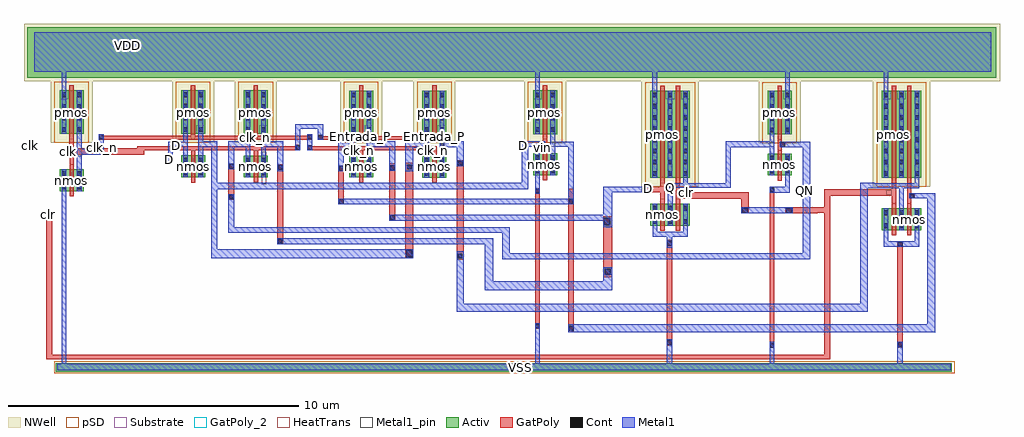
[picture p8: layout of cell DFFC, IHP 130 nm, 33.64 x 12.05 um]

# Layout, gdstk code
from math import pi, radians
import gdstk
lib = gdstk.Library(unit=1e-6, precision=1e-09)
def R(c, l, rs):  # rectangles x0, y0, x1, y1
    for r in rs: c.add(gdstk.rectangle(r[:2], r[2:], *l))
def A(c, l, x, y, w, h, nx, ny, dx, dy):  # array of equal rectangles
    R(c, l, [(x+i*dx, y+j*dy, x+i*dx+w, y+j*dy+h) for i in range(nx) for j in range(ny)])
def P(c, l, *ps):  # polygons
    for p in ps: c.add(gdstk.Polygon(p, *l))
Activ = (1, 0)
GatPoly = (5, 0)
GatPoly_2 = (5, 2)
Cont = (6, 0)
Metal1 = (8, 0)
Metal1_pin = (8, 2)
pSD = (14, 0)
NWell = (31, 0)
Substrate = (40, 0)
HeatTrans = (51, 0)

pmos_1_1 = lib.new_cell('pmos$1$1')

nmos_1_1 = lib.new_cell('nmos$1$1')

nmos_1_3 = lib.new_cell('nmos$1$3')

pmos_1_3 = lib.new_cell('pmos$1$3')

nmos_1_3_1 = lib.new_cell('nmos$1$3$1')

pmos_1_3_1 = lib.new_cell('pmos$1$3$1')

nmos_1_3_1_1 = lib.new_cell('nmos$1$3$1$1')

pmos_1_3_1_1 = lib.new_cell('pmos$1$3$1$1')

nmos_3_1_1 = lib.new_cell('nmos$3$1$1')

pmos_3_1_1 = lib.new_cell('pmos$3$1$1')

nmos_3_1_1_1 = lib.new_cell('nmos$3$1$1$1')

pmos_3_1_1_1 = lib.new_cell('pmos$3$1$1$1')

pmos_3 = lib.new_cell('pmos$3')

nmos_3 = lib.new_cell('nmos$3')

pmos_3_1 = lib.new_cell('pmos$3$1')

nmos_3_1 = lib.new_cell('nmos$3$1')

nmos_1_1_1 = lib.new_cell('nmos$1$1$1')

pmos_1_1_1 = lib.new_cell('pmos$1$1$1')

nmos_1_1_3 = lib.new_cell('nmos$1$1$3')

pmos_1_1_3 = lib.new_cell('pmos$1$1$3')

pmos_1_1_4 = lib.new_cell('pmos$1$1$4')

nmos_1_1_4 = lib.new_cell('nmos$1$1$4')

pmos_1_3_2 = lib.new_cell('pmos$1$3$2')

nmos_1_3_1_2 = lib.new_cell('nmos$1$3$1$2')

pmos_1_3_1_2 = lib.new_cell('pmos$1$3$1$2')

nmos_1_3_1_1_1 = lib.new_cell('nmos$1$3$1$1$1')

pmos_1_3_1_1_1 = lib.new_cell('pmos$1$3$1$1$1')

pmos_3_2 = lib.new_cell('pmos$3$2')

nmos_3_2 = lib.new_cell('nmos$3$2')

pmos_3_1_2 = lib.new_cell('pmos$3$1$2')

nmos_3_1_2 = lib.new_cell('nmos$3$1$2')

nmos_1_1_1_1 = lib.new_cell('nmos$1$1$1$1')

pmos_1_1_1_1 = lib.new_cell('pmos$1$1$1$1')

nmos_1_1_3_1 = lib.new_cell('nmos$1$1$3$1')

pmos_1_1_3_1 = lib.new_cell('pmos$1$1$3$1')

nmos_3_1_1_1_1 = lib.new_cell('nmos$3$1$1$1$1')

pmos_3_1_1_1_1 = lib.new_cell('pmos$3$1$1$1$1')

nmos_1_3_2 = lib.new_cell('nmos$1$3$2')

nmos_3_1_1_2 = lib.new_cell('nmos$3$1$1$2')

pmos_3_1_1_2 = lib.new_cell('pmos$3$1$1$2')

dffc = lib.new_cell('DFFC')
R(dffc, Activ, [(64.975,63.48,95.87,63.765), (93.45,68.36,94.28,69.11), (93.98,68.36,94.81,69.11), (85.477,68.512,86.307,69.262), (86.007,68.512,86.837,69.262), (93.45,68.81,93.75,69.11), (93.98,68.81,94.28,69.11), (93.98,68.81,94.28,69.11), (94.51,68.81,94.81,69.11), (85.477,68.962,85.777,69.262), (86.007,68.962,86.307,69.262), (86.007,68.962,86.307,69.262), (86.537,68.962,86.837,69.262), (65.105,69.705,65.935,70.455), (65.105,70.155,65.405,70.455), (65.635,70.155,65.935,70.455), (85.475,70.162,86.305,73.162), (86.005,70.162,86.835,73.162), (93.451,70.162,94.281,73.162), (93.981,70.162,94.811,73.162), (77.615,70.17,77.915,70.47), (77.615,70.17,78.445,70.92), (78.145,70.17,78.445,70.47), (75.09,70.175,75.39,70.475), (75.09,70.175,75.92,70.925), (75.62,70.175,75.92,70.475), (71.457,70.176,71.757,70.476), (71.457,70.176,72.287,70.926), (71.987,70.176,72.287,70.476), (69.295,70.19,70.125,70.94), (69.825,70.19,70.125,70.49), (69.295,70.193,69.585,70.483), (89.516,70.242,90.346,70.992), (81.429,70.252,82.259,71.002), (89.516,70.692,89.816,70.992), (90.046,70.692,90.346,70.992), (81.429,70.702,81.729,71.002), (81.959,70.702,82.259,71.002), (89.516,71.662,90.346,73.162), (75.09,71.67,75.39,71.97), (75.09,71.67,75.92,73.17), (75.62,71.67,75.92,71.97), (77.615,71.67,77.915,71.97), (77.615,71.67,78.445,73.17), (78.145,71.67,78.445,71.97), (81.429,71.672,82.259,73.172), (65.105,71.675,65.935,73.175), (71.455,71.675,71.755,71.975), (71.455,71.675,72.285,73.175), (71.985,71.675,72.285,71.975), (69.295,71.677,69.595,71.977), (69.295,71.677,70.125,73.177), (69.825,71.677,70.125,71.977), (85.475,72.862,85.775,73.162), (86.005,72.862,86.305,73.162), (86.005,72.862,86.305,73.162), (86.535,72.862,86.835,73.162), (89.516,72.862,89.816,73.162), (90.046,72.862,90.346,73.162), (93.451,72.862,93.751,73.162), (93.981,72.862,94.281,73.162), (93.981,72.862,94.281,73.162), (94.511,72.862,94.811,73.162), (81.429,72.872,81.729,73.172), (81.959,72.872,82.259,73.172), (65.105,72.875,65.405,73.175), (65.635,72.875,65.935,73.175), (63.988,73.614,97.395,75.36)])
R(dffc, GatPoly, [(89.585,64.3,89.746,69.845), (93.99,64.305,94.18,67.973), (86.03,64.371,86.235,68.03), (82.65,64.845,82.83,69.785), (81.499,64.955,81.66,69.805), (83.84,66.735,84.155,68.845), (78.795,67.34,79.04,70.765), (77.03,67.385,77.3,70.68), (72.61,67.88,72.81,70.63), (93.79,68.18,93.94,69.29), (94.32,68.18,94.47,69.29), (85.817,68.332,85.967,69.442), (76.48,68.69,76.675,70.67), (74.72,69.255,74.905,70.58), (70.915,69.4,71.13,70.65), (85.815,69.982,85.965,73.342), (85.815,69.982,85.965,73.342), (86.345,69.982,86.495,73.342), (86.345,69.982,86.495,73.342), (93.791,69.982,93.941,73.342), (93.791,69.982,93.941,73.342), (94.321,69.982,94.471,73.342), (94.321,69.982,94.471,73.342), (89.856,70.062,90.006,71.113), (81.769,70.072,81.919,71.123), (89.856,71.482,90.006,73.342), (89.856,71.482,90.006,73.342), (81.769,71.492,81.919,73.352), (81.769,71.492,81.919,73.352)])
P(dffc, GatPoly, [(64.648,63.908),(64.648,64.068),(64.649,64.068),(64.649,68.998),(64.85,68.998),(64.85,64.068),(91.463,64.068),(91.463,68.937),(91.233,68.937),(91.233,68.938),(90.119,68.938),(90.119,69.143),(91.464,69.143),(91.464,69.761),(93.791,69.761),(93.791,69.982),(93.941,69.982),(93.941,69.437),(93.94,69.437),(93.94,69.21),(93.79,69.21),(93.79,69.55),(91.672,69.55),(91.672,64.181),(91.666,64.181),(91.666,63.908)],
  [(86.347,68.332),(86.347,69.982),(86.494,69.982),(86.494,69.665),(88.611,69.665),(88.869,69.665),(88.869,69.435),(88.869,68.941),(88.611,68.941),(88.611,69.435),(86.497,69.435),(86.497,68.332)],
  [(89.856,71.077),(89.856,71.483),(90.006,71.483),(90.006,71.411),(90.117,71.411),(90.117,71.22),(90.006,71.22),(90.006,71.077)],
  [(77.955,69.99),(77.955,71.115),(75.58,71.115),(75.58,69.995),(75.43,69.995),(75.43,71.115),(73.645,71.115),(73.645,71.285),(73.825,71.285),(73.825,71.245),(78.105,71.245),(78.105,69.99)],
  [(65.45,69.525),(65.45,70.43),(65.45,70.96),(65.305,70.96),(65.305,71.185),(65.445,71.185),(65.445,73.36),(65.595,73.36),(65.595,71.5),(65.6,71.5),(65.6,71.185),(67.79,71.185),(67.79,71.25),(73.23,71.25),(73.23,71.295),(73.41,71.295),(73.41,71.12),(71.957,71.12),(71.957,70.007),(71.802,70.007),(71.802,71.12),(69.79,71.12),(69.79,69.998),(69.64,69.998),(69.64,71.12),(68.025,71.12),(68.025,70.96),(65.6,70.96),(65.6,69.525)],
  [(94.32,69.205),(94.32,69.68),(94.32,69.982),(94.471,69.982),(94.471,69.852),(94.471,69.63),(94.59,69.63),(94.59,69.45),(94.47,69.45),(94.47,69.205)],
  [(85.815,69.43),(85.815,69.662),(85.178,69.662),(85.178,69.852),(85.814,69.852),(85.814,69.982),(85.964,69.982),(85.964,69.68),(85.965,69.68),(85.965,69.43)],
  [(81.769,71.082),(81.769,71.225),(81.65,71.225),(81.65,71.416),(81.769,71.416),(81.769,71.5),(81.919,71.5),(81.919,71.082)],
  [(74.005,71.47),(74.005,71.64),(74.19,71.64),(74.19,71.6),(75.43,71.6),(75.43,73.345),(75.58,73.345),(75.58,71.6),(77.955,71.6),(77.955,73.345),(78.105,73.345),(78.105,71.47)],
  [(66.455,71.475),(66.455,71.662),(66.625,71.662),(66.625,71.605),(69.635,71.605),(69.635,73.357),(69.785,73.357),(69.785,71.605),(71.795,71.605),(71.795,73.355),(71.945,73.355),(71.945,71.605),(73.645,71.605),(73.645,71.665),(73.825,71.665),(73.825,71.475)])
R(dffc, GatPoly_2, [(93.79,68.18,93.94,69.29), (94.32,68.18,94.47,69.29), (85.817,68.332,85.967,69.442), (86.347,68.332,86.497,69.442), (64.653,68.766,64.846,68.993), (86.349,69.437,86.53,69.66), (65.45,69.525,65.6,70.635), (93.599,69.565,93.785,69.74), (85.183,69.681,85.343,69.841), (77.955,69.99,78.105,71.1), (75.43,69.995,75.58,71.105), (69.64,69.998,69.79,71.108), (71.805,70.01,71.955,71.12), (89.856,70.062,90.006,71.113), (81.769,70.072,81.919,71.123), (77.955,70.95,78.105,71.095), (69.64,70.955,69.788,71.1), (75.43,70.955,75.58,71.1), (71.807,70.97,71.955,71.115), (75.43,71.49,75.58,71.655), (77.955,71.49,78.105,71.655), (71.795,71.495,71.945,71.66), (69.635,71.497,69.785,71.662)])
A(dffc, Cont, 85.545, 70.622, 0.16, 0.16, 1, 7, 0, 0.385)
A(dffc, Cont, 86.605, 70.622, 0.16, 0.16, 1, 7, 0, 0.385)
A(dffc, Cont, 93.521, 70.622, 0.16, 0.16, 1, 7, 0, 0.385)
A(dffc, Cont, 94.581, 70.622, 0.16, 0.16, 1, 7, 0, 0.385)
A(dffc, Cont, 89.586, 71.732, 0.16, 0.16, 1, 4, 0, 0.4)
A(dffc, Cont, 90.116, 71.732, 0.16, 0.16, 1, 4, 0, 0.4)
A(dffc, Cont, 75.16, 71.74, 0.16, 0.16, 1, 4, 0, 0.4)
A(dffc, Cont, 75.69, 71.74, 0.16, 0.16, 1, 4, 0, 0.4)
A(dffc, Cont, 77.685, 71.74, 0.16, 0.16, 1, 4, 0, 0.4)
A(dffc, Cont, 78.215, 71.74, 0.16, 0.16, 1, 4, 0, 0.4)
A(dffc, Cont, 81.499, 71.742, 0.16, 0.16, 1, 4, 0, 0.4)
A(dffc, Cont, 82.029, 71.742, 0.16, 0.16, 1, 4, 0, 0.4)
A(dffc, Cont, 65.175, 71.745, 0.16, 0.16, 1, 4, 0, 0.4)
A(dffc, Cont, 65.705, 71.745, 0.16, 0.16, 1, 4, 0, 0.4)
A(dffc, Cont, 71.525, 71.745, 0.16, 0.16, 1, 4, 0, 0.4)
A(dffc, Cont, 72.055, 71.745, 0.16, 0.16, 1, 4, 0, 0.4)
A(dffc, Cont, 69.365, 71.747, 0.16, 0.16, 1, 4, 0, 0.4)
A(dffc, Cont, 69.895, 71.747, 0.16, 0.16, 1, 4, 0, 0.4)
R(dffc, Cont, [(80.91,63.555,81.075,63.715), (89.585,64.305,89.745,64.465), (94.005,64.34,94.165,64.5), (86.055,64.404,86.215,64.564), (82.665,64.895,82.825,65.055), (81.5,64.97,81.66,65.13), (83.895,66.815,84.11,67.035), (78.825,67.39,78.985,67.55), (77.055,67.43,77.265,67.67), (94.006,67.803,94.166,67.963), (86.055,67.825,86.215,67.985), (72.63,67.9,72.79,68.06), (93.52,68.43,93.68,68.59), (94.05,68.43,94.21,68.59), (94.05,68.43,94.21,68.59), (94.58,68.43,94.74,68.59), (83.86,68.53,84.09,68.79), (85.547,68.582,85.707,68.742), (86.077,68.582,86.237,68.742), (86.077,68.582,86.237,68.742), (86.607,68.582,86.767,68.742), (76.5,68.715,76.66,68.875), (64.657,68.784,64.844,68.987), (93.52,68.88,93.68,69.04), (94.05,68.88,94.21,69.04), (94.05,68.88,94.21,69.04), (94.58,68.88,94.74,69.04), (90.163,68.954,90.353,69.13), (88.634,68.96,88.837,69.134), (85.547,69.032,85.707,69.192), (86.077,69.032,86.237,69.192), (86.077,69.032,86.237,69.192), (86.607,69.032,86.767,69.192), (74.735,69.265,74.895,69.425), (82.66,69.275,82.82,69.435), (70.94,69.42,71.1,69.58), (94.415,69.46,94.575,69.62), (81.5,69.63,81.66,69.79), (89.585,69.66,89.745,69.82), (85.184,69.68,85.344,69.84), (65.175,69.775,65.335,69.935), (65.705,69.775,65.865,69.935), (86.08,69.822,86.24,69.982), (65.175,70.225,65.335,70.385), (65.705,70.225,65.865,70.385), (85.545,70.232,85.705,70.392), (86.075,70.232,86.235,70.392), (86.075,70.232,86.235,70.392), (86.605,70.232,86.765,70.392), (93.521,70.232,93.681,70.392), (94.051,70.232,94.211,70.392), (94.051,70.232,94.211,70.392), (94.581,70.232,94.741,70.392), (77.685,70.24,77.845,70.4), (78.215,70.24,78.375,70.4), (75.16,70.245,75.32,70.405), (75.69,70.245,75.85,70.405), (71.527,70.246,71.687,70.406), (72.057,70.246,72.217,70.406), (69.365,70.248,69.525,70.408), (69.895,70.248,70.055,70.408), (89.586,70.312,89.746,70.472), (90.116,70.312,90.276,70.472), (81.499,70.322,81.659,70.482), (82.029,70.322,82.189,70.482), (74.735,70.41,74.895,70.57), (76.5,70.43,76.66,70.59), (72.63,70.44,72.79,70.6), (77.09,70.455,77.25,70.615), (70.945,70.48,71.105,70.64), (78.84,70.59,79,70.75), (86.075,70.622,86.235,70.782), (86.075,70.622,86.235,70.782), (94.051,70.622,94.211,70.782), (94.051,70.622,94.211,70.782), (77.685,70.69,77.845,70.85), (78.215,70.69,78.375,70.85), (75.16,70.695,75.32,70.855), (75.69,70.695,75.85,70.855), (71.527,70.696,71.687,70.856), (72.057,70.696,72.217,70.856), (69.365,70.698,69.525,70.858), (69.895,70.698,70.055,70.858), (68.855,70.715,69.015,70.875), (89.586,70.762,89.746,70.922), (90.116,70.762,90.276,70.922), (81.499,70.772,81.659,70.932), (82.029,70.772,82.189,70.932), (65.345,70.99,65.505,71.15), (86.075,71.007,86.235,71.167), (86.075,71.007,86.235,71.167), (94.051,71.007,94.211,71.167), (94.051,71.007,94.211,71.167), (73.65,71.12,73.81,71.28), (73.24,71.125,73.4,71.285), (89.937,71.235,90.097,71.395), (77.685,71.24,77.845,71.4), (78.215,71.24,78.375,71.4), (81.675,71.24,81.835,71.4), (86.075,71.392,86.235,71.552), (86.075,71.392,86.235,71.552), (94.051,71.392,94.211,71.552), (94.051,71.392,94.211,71.552), (74.02,71.475,74.18,71.635), (73.65,71.49,73.81,71.65), (66.455,71.495,66.626,71.662), (86.075,71.777,86.235,71.937), (86.075,71.777,86.235,71.937), (94.051,71.777,94.211,71.937), (94.051,71.777,94.211,71.937), (86.075,72.162,86.235,72.322), (86.075,72.162,86.235,72.322), (94.051,72.162,94.211,72.322), (94.051,72.162,94.211,72.322), (86.075,72.547,86.235,72.707), (86.075,72.547,86.235,72.707), (94.051,72.547,94.211,72.707), (94.051,72.547,94.211,72.707), (86.075,72.932,86.235,73.092), (86.075,72.932,86.235,73.092), (94.051,72.932,94.211,73.092), (94.051,72.932,94.211,73.092), (67.392,74.655,67.552,74.815)])
R(dffc, Metal1, [(88.611,68.938,90.378,69.144), (81.499,69.62,81.66,70.252), (65.175,69.705,65.335,70.455), (65.705,69.705,65.865,70.455), (86.075,70.162,86.235,73.162), (86.075,70.162,86.235,73.162), (86.075,70.162,86.235,73.162), (86.075,70.162,86.235,73.162), (94.051,70.162,94.211,73.162), (94.051,70.162,94.211,73.162), (94.051,70.162,94.211,73.162), (94.051,70.162,94.211,73.162), (90.116,70.242,90.276,70.992), (81.499,70.252,81.659,71.002), (65.34,70.985,65.51,71.155), (73.645,71.115,73.825,71.665), (65.705,71.675,65.865,73.175), (65.705,71.675,65.865,73.175), (69.365,71.677,69.525,73.177), (69.365,71.677,69.525,73.177)])
P(dffc, Metal1, [(65.02,63.525),(65.02,63.745),(65.175,63.745),(65.175,69.725),(65.335,69.725),(65.335,63.745),(81.499,63.745),(81.499,65.155),(81.66,65.155),(81.66,63.745),(86.03,63.745),(86.03,64.601),(86.235,64.601),(86.235,63.745),(89.585,63.745),(89.585,64.51),(89.746,64.51),(89.746,63.745),(93.99,63.745),(93.99,64.515),(94.18,64.515),(94.18,63.745),(95.825,63.745),(95.825,63.525)],
  [(80.37,67.36),(80.37,68.26),(70.915,68.26),(70.915,69.595),(71.13,69.595),(71.13,68.465),(80.62,68.465),(80.62,67.565),(90.725,67.565),(90.725,71.22),(89.93,71.22),(89.93,71.41),(90.726,71.41),(90.98,71.41),(90.98,67.36)],
  [(86.077,68.512),(86.077,69.982),(86.606,69.982),(86.606,73.162),(86.766,73.162),(86.766,69.982),(88.07,69.982),(88.07,71.415),(89.586,71.415),(89.586,73.162),(89.746,73.162),(89.746,70.242),(89.586,70.242),(89.586,71.22),(88.235,71.22),(88.235,69.822),(86.237,69.822),(86.237,68.512)],
  [(89.58,69.645),(89.58,69.85),(89.803,69.85),(90.115,69.85),(90.115,70.025),(90.116,70.025),(90.116,70.242),(90.277,70.242),(90.277,69.852),(90.278,69.852),(90.278,69.645),(89.895,69.645)],
  [(78.795,65.54),(78.795,67.63),(79.04,67.63),(79.04,65.825),(92.715,65.825),(92.715,69.74),(92.715,69.984),(93.198,69.984),(93.198,69.982),(94.58,69.982),(94.58,73.16),(94.741,73.16),(94.741,69.81),(94.215,69.81),(94.215,69.806),(94.214,69.806),(94.214,68.36),(94.049,68.36),(94.049,69.806),(92.96,69.806),(92.96,69.564),(92.96,69.558),(92.96,69.564),(92.96,65.54)],
  [(85.546,70.164),(85.546,73.164),(85.546,73.818),(81.663,73.818),(81.663,72.804),(81.659,72.804),(81.659,71.672),(81.499,71.672),(81.499,73.818),(65.338,73.818),(65.338,72.763),(65.335,72.763),(65.335,71.675),(65.175,71.675),(65.175,73.818),(64.241,73.818),(64.241,75.183),(97.23,75.183),(97.23,73.818),(93.68,73.818),(93.68,70.165),(93.52,70.165),(93.52,73.051),(93.52,73.818),(90.276,73.818),(90.276,71.662),(90.116,71.662),(90.116,73.818),(85.706,73.818),(85.706,73.164),(85.706,70.164)],
  [(70.331,67.385),(70.331,71.222),(70.055,71.222),(70.055,70.178),(69.895,70.178),(69.895,71.144),(69.895,73.178),(70.055,73.178),(70.055,71.678),(70.057,71.678),(70.057,71.422),(70.54,71.422),(70.54,69.99),(81.045,69.99),(81.045,71.415),(81.845,71.415),(81.845,71.225),(81.265,71.225),(81.265,69.775),(70.54,69.775),(70.54,67.7),(77.3,67.7),(77.3,67.385),(70.54,67.385)],
  [(71.527,70.176),(71.527,71.14),(71.525,71.14),(71.525,71.21),(71.13,71.21),(71.13,70.45),(70.915,70.45),(70.915,71.42),(71.525,71.42),(71.525,73.174),(71.685,73.174),(71.685,71.674),(71.687,71.674),(71.687,70.176)],
  [(72.057,70.176),(72.057,71.123),(72.055,71.123),(72.055,73.174),(72.215,73.174),(72.215,71.674),(72.217,71.674),(72.217,71.42),(72.81,71.42),(72.81,70.38),(72.61,70.38),(72.61,71.22),(72.217,71.22),(72.217,70.176)],
  [(75.16,70.175),(75.16,71.215),(74.905,71.215),(74.905,70.395),(74.72,70.395),(74.72,71.415),(75.16,71.415),(75.16,73.17),(75.32,73.17),(75.32,70.175)],
  [(75.69,70.175),(75.69,73.17),(75.85,73.17),(75.85,71.415),(76.675,71.415),(76.675,70.4),(76.48,70.4),(76.48,71.215),(75.85,71.215),(75.85,70.175)],
  [(77.685,70.17),(77.685,71.205),(77.3,71.205),(77.3,70.39),(77.03,70.39),(77.03,71.415),(77.685,71.415),(77.685,73.17),(77.845,73.17),(77.845,70.17)],
  [(78.215,70.17),(78.215,73.17),(78.375,73.17),(78.375,71.415),(79.04,71.415),(79.04,70.565),(78.795,70.565),(78.795,71.215),(78.375,71.215),(78.375,70.17)],
  [(86.03,67.75),(86.03,68.135),(85.547,68.135),(85.547,69.262),(85.707,69.262),(85.707,68.3),(86.607,68.3),(86.607,69.262),(86.767,69.262),(86.767,68.135),(86.235,68.135),(86.235,67.75)],
  [(69.365,70.193),(69.365,71.245),(69.015,71.245),(69.015,70.66),(68.855,70.66),(68.855,71.407),(69.365,71.407),(69.365,71.766),(69.527,71.766),(69.527,71.084),(69.525,71.084),(69.525,70.193)],
  [(74.72,69.255),(74.72,69.44),(82.65,69.44),(82.65,71.23),(82.189,71.23),(82.189,70.242),(82.029,70.242),(82.029,73.162),(82.194,73.162),(82.194,71.401),(82.83,71.401),(82.83,69.255)],
  [(95.295,64.815),(95.295,64.845),(82.65,64.845),(82.65,65.115),(95.025,65.115),(95.025,69.45),(94.395,69.45),(94.395,69.63),(95.295,69.63),(95.295,68.56)],
  [(83.84,68.455),(83.84,68.69),(76.48,68.69),(76.48,68.89),(83.845,68.89),(83.845,69.852),(85.445,69.852),(85.445,69.662),(84.155,69.662),(84.155,68.455)],
  [(79.76,66.28),(79.76,67.88),(72.61,67.88),(72.61,68.08),(80.055,68.08),(80.055,66.59),(83.84,66.59),(83.84,67.085),(84.155,67.085),(84.155,66.59),(84.155,66.28)],
  [(65.705,70.423),(65.705,71.685),(65.865,71.685),(65.865,71.163),(66.455,71.163),(66.455,71.662),(66.626,71.662),(66.626,70.961),(65.865,70.961),(65.865,70.423)],
  [(73.23,71.115),(73.23,72.005),(74.19,72.005),(74.19,71.47),(74.005,71.47),(74.005,71.845),(73.41,71.845),(73.41,71.115)],
  [(93.52,67.793),(93.52,69.11),(93.68,69.11),(93.68,67.973),(94.58,67.973),(94.58,69.11),(94.74,69.11),(94.74,67.793),(94.58,67.793)],
  [(65.175,69.705),(65.175,69.705),(65.335,69.705),(65.335,69.705)],
  [(81.499,70.252),(81.499,70.252),(81.659,70.252),(81.659,70.252)],
  [(90.116,70.242),(90.116,70.242),(90.276,70.242),(90.276,70.242)])
A(dffc, Metal1_pin, 93.52, 68.36, 0.16, 0.75, 3, 1, 0.53, 0)
R(dffc, Metal1_pin, [(80.91,63.555,81.075,63.715), (85.547,68.512,85.707,69.262), (86.077,68.512,86.237,69.262), (86.077,68.512,86.237,69.262), (86.607,68.512,86.767,69.262), (90.764,69.638,90.924,69.798), (65.175,69.705,65.335,70.455), (65.705,69.705,65.865,70.455), (86.08,69.822,86.24,69.982), (77.685,70.17,77.845,70.92), (78.215,70.17,78.375,70.92), (75.16,70.175,75.32,70.925), (75.69,70.175,75.85,70.925), (71.527,70.176,71.687,70.926), (72.057,70.176,72.217,70.926), (69.895,70.178,70.055,70.928), (69.365,70.193,69.525,70.928), (89.586,70.242,89.746,70.992), (90.116,70.242,90.276,70.992), (81.499,70.252,81.659,71.002), (82.029,70.252,82.189,71.002), (68.855,70.68,69.015,70.89), (65.705,70.91,65.865,71.165), (77.685,71.205,77.845,71.415), (78.215,71.215,78.375,71.415), (82.03,71.24,82.19,71.411), (89.586,71.24,89.746,71.401), (67.376,74.641,67.565,74.823)])
R(dffc, pSD, [(64.925,63.425,95.965,63.84), (85.295,69.862,86.485,73.462), (85.825,69.862,87.015,73.462), (93.271,69.862,94.461,73.462), (93.801,69.862,94.991,73.462), (89.336,71.362,90.526,73.462), (74.91,71.37,76.1,73.47), (77.435,71.37,78.625,73.47), (81.249,71.372,82.439,73.472), (64.925,71.375,66.115,73.475), (71.275,71.375,72.465,73.475), (69.115,71.377,70.305,73.477)])
R(dffc, NWell, [(85.165,69.852,86.615,73.472), (85.695,69.852,87.145,73.472), (93.141,69.852,94.591,73.472), (93.671,69.852,95.121,73.472), (89.206,71.352,90.656,73.472), (74.78,71.36,76.23,73.48), (77.305,71.36,78.755,73.48), (81.119,71.362,82.569,73.482), (64.795,71.365,66.245,73.485), (71.145,71.365,72.595,73.485), (68.985,71.367,70.435,73.487), (63.881,73.487,97.525,75.473)])
R(dffc, Substrate, [(75.62,71.67,75.92,71.97), (78.145,71.67,78.445,71.97), (71.985,71.675,72.285,71.975), (69.825,71.677,70.125,71.977), (86.005,72.862,86.305,73.162), (86.535,72.862,86.835,73.162), (90.046,72.862,90.346,73.162), (93.451,72.862,93.751,73.162), (93.981,72.862,94.281,73.162), (81.429,72.872,81.729,73.172), (65.105,72.875,65.405,73.175)])
R(dffc, HeatTrans, [(93.79,68.18,93.94,69.29), (94.32,68.18,94.47,69.29), (85.817,68.332,85.967,69.442), (86.347,68.332,86.497,69.442), (65.45,69.525,65.6,70.635), (72.085,69.945,72.235,71.055), (85.815,69.982,85.965,73.342), (86.345,69.982,86.495,73.342), (93.791,69.982,93.941,73.342), (94.321,69.982,94.471,73.342), (77.955,69.99,78.105,71.1), (75.43,69.995,75.58,71.105), (89.856,70.062,90.006,71.113), (81.769,70.072,81.919,71.123), (89.856,71.482,90.006,73.342), (75.43,71.49,75.58,73.35), (77.955,71.49,78.105,73.35), (81.769,71.492,81.919,73.352), (65.445,71.495,65.595,73.355), (71.795,71.495,71.945,73.355), (69.635,71.497,69.785,73.357)])
dffc.add(gdstk.Reference(pmos_1_1, (-2.821,1.304), rotation=pi))
dffc.add(gdstk.Reference(nmos_1_1, (-2.821,-2.376), rotation=pi))
dffc.add(gdstk.Reference(pmos_1_1, (-3.351,1.304), rotation=pi))
dffc.add(gdstk.Reference(nmos_1_3, (-3.889,4.557), rotation=pi))
dffc.add(gdstk.Reference(pmos_1_3, (-3.894,7.282), rotation=pi))
dffc.add(gdstk.Reference(nmos_1_3_1, (4.626,4.726), rotation=pi))
dffc.add(gdstk.Reference(pmos_1_3_1, (4.621,7.451), rotation=pi))
dffc.add(gdstk.Reference(nmos_1_3_1_1, (-12.111,-1.561), rotation=pi))
dffc.add(gdstk.Reference(pmos_1_3_1_1, (-12.116,1.164), rotation=pi))
dffc.add(gdstk.Reference(nmos_3_1_1, (1.334,17.519)))
dffc.add(gdstk.Reference(pmos_3_1_1, (1.334,18.809)))
dffc.add(gdstk.Reference(nmos_3_1_1_1, (-7.646,4.282)))
dffc.add(gdstk.Reference(pmos_3_1_1_1, (-7.646,5.572)))
dffc.add(gdstk.Reference(pmos_3, (-1.103,5.555)))
dffc.add(gdstk.Reference(nmos_3, (-1.103,4.265)))
dffc.add(gdstk.Reference(nmos_1_1, (-3.351,-2.376), rotation=pi))
dffc.add(gdstk.Reference(pmos_3_1, (1.169,13.163)))
dffc.add(gdstk.Reference(nmos_3_1, (1.169,11.873)))
dffc.add(gdstk.Reference(nmos_1_1_1, (0.714,4.402), x_reflection=True))
dffc.add(gdstk.Reference(pmos_1_1_1, (0.714,8.082), x_reflection=True))
dffc.add(gdstk.Reference(nmos_1_1_3, (1.998,4.913), x_reflection=True))
dffc.add(gdstk.Reference(pmos_1_1_3, (1.998,8.593), x_reflection=True))
dffc.add(gdstk.Reference(nmos_1_1_3, (1.468,4.913), x_reflection=True))
dffc.add(gdstk.Reference(pmos_1_1_3, (1.468,8.593), x_reflection=True))
dffc.add(gdstk.Reference(pmos_1_1_4, (65.752,41.214), rotation=pi))
dffc.add(gdstk.Reference(nmos_1_1_4, (65.752,37.534), rotation=pi))
dffc.add(gdstk.Reference(pmos_1_1_4, (65.222,41.214), rotation=pi))
dffc.add(gdstk.Reference(pmos_1_3_2, (64.684,47.192), rotation=pi))
dffc.add(gdstk.Reference(nmos_1_3_1_2, (73.199,44.636), rotation=pi))
dffc.add(gdstk.Reference(pmos_1_3_1_2, (73.194,47.361), rotation=pi))
dffc.add(gdstk.Reference(nmos_1_3_1_1_1, (56.462,38.349), rotation=pi))
dffc.add(gdstk.Reference(pmos_1_3_1_1_1, (56.457,41.074), rotation=pi))
dffc.add(gdstk.Reference(pmos_3_2, (67.47,45.465)))
dffc.add(gdstk.Reference(nmos_3_2, (67.47,44.175)))
dffc.add(gdstk.Reference(nmos_1_1_4, (65.222,37.534), rotation=pi))
dffc.add(gdstk.Reference(pmos_3_1_2, (69.742,53.073)))
dffc.add(gdstk.Reference(nmos_3_1_2, (69.742,51.783)))
dffc.add(gdstk.Reference(nmos_1_1_1_1, (69.287,44.312), x_reflection=True))
dffc.add(gdstk.Reference(pmos_1_1_1_1, (69.287,47.992), x_reflection=True))
dffc.add(gdstk.Reference(nmos_1_1_3_1, (70.571,44.823), x_reflection=True))
dffc.add(gdstk.Reference(pmos_1_1_3_1, (70.571,48.503), x_reflection=True))
dffc.add(gdstk.Reference(nmos_1_1_3_1, (70.041,44.823), x_reflection=True))
dffc.add(gdstk.Reference(pmos_1_1_3_1, (70.041,48.503), x_reflection=True))
dffc.add(gdstk.Reference(nmos_3_1_1_1_1, (60.924,44.198)))
dffc.add(gdstk.Reference(pmos_3_1_1_1_1, (60.922,45.482)))
dffc.add(gdstk.Reference(nmos_1_3_2, (64.684,44.467), rotation=pi))
dffc.add(gdstk.Reference(nmos_3_1_1_2, (69.907,57.429)))
dffc.add(gdstk.Reference(pmos_3_1_1_2, (69.907,58.719)))
dffc.add(gdstk.Label('nmos', (89.93,70.619), layer=63, texttype=0))
dffc.add(gdstk.Label('pmos', (89.93,72.414), layer=63, texttype=0))
dffc.add(gdstk.Label('pmos', (93.87,71.66), layer=63, texttype=0))
dffc.add(gdstk.Label('pmos', (94.4,71.66), layer=63, texttype=0))
dffc.add(gdstk.Label('D', (81.09,71.285), layer=63, texttype=0))
dffc.add(gdstk.Label('pmos', (81.84,72.421), layer=63, texttype=0))
dffc.add(gdstk.Label('pmos', (85.888,71.662), layer=63, texttype=0))
dffc.add(gdstk.Label('pmos', (86.418,71.662), layer=63, texttype=0))
dffc.add(gdstk.Label('nmos', (85.89,68.887), layer=63, texttype=0))
dffc.add(gdstk.Label('nmos', (86.42,68.887), layer=63, texttype=0))
dffc.add(gdstk.Label('clr', (86.725,69.668), layer=63, texttype=0))
dffc.add(gdstk.Label('nmos', (71.875,70.55), layer=63, texttype=0))
dffc.add(gdstk.Label('clk', (71.886,70.974), layer=63, texttype=0))
dffc.add(gdstk.Label('nmos', (69.709,70.551), layer=63, texttype=0))
dffc.add(gdstk.Label('clk', (69.72,70.975), layer=63, texttype=0))
dffc.add(gdstk.Label('nmos', (75.502,70.551), layer=63, texttype=0))
dffc.add(gdstk.Label('clk_n', (75.455,71.095), layer=63, texttype=0))
dffc.add(gdstk.Label('clk_n', (77.98,71.09), layer=63, texttype=0))
dffc.add(gdstk.Label('nmos', (78.027,70.546), layer=63, texttype=0))
dffc.add(gdstk.Label('nmos', (65.52,70.08), layer=63, texttype=0))
dffc.add(gdstk.Label('nmos', (94.4,68.735), layer=63, texttype=0))
dffc.add(gdstk.Label('nmos', (93.87,68.735), layer=63, texttype=0))
dffc.add(gdstk.Label('nmos', (81.84,70.626), layer=63, texttype=0))
dffc.add(gdstk.Label('clk_n', (66.59,71.2), layer=63, texttype=0))
dffc.add(gdstk.Label('clk', (64.104,71.27), layer=63, texttype=0))
dffc.add(gdstk.Label('pmos', (65.519,72.426), layer=63, texttype=0))
dffc.add(gdstk.Label('pmos', (75.502,72.421), layer=63, texttype=0))
dffc.add(gdstk.Label('clk', (75.493,71.535), layer=63, texttype=0))
dffc.add(gdstk.Label('pmos', (78.027,72.421), layer=63, texttype=0))
dffc.add(gdstk.Label('clk', (78.018,71.535), layer=63, texttype=0))
dffc.add(gdstk.Label('D', (69.123,71.292), layer=63, texttype=0))
dffc.add(gdstk.Label('clk_n', (69.713,71.55), layer=63, texttype=0))
dffc.add(gdstk.Label('pmos', (69.71,72.427), layer=63, texttype=0))
dffc.add(gdstk.Label('clk_n', (71.875,71.548), layer=63, texttype=0))
dffc.add(gdstk.Label('pmos', (71.872,72.425), layer=63, texttype=0))
dffc.add(gdstk.Label('pmos', (89.93,72.414), layer=51, texttype=0))
dffc.add(gdstk.Label('nmos', (89.93,70.619), layer=51, texttype=0))
dffc.add(gdstk.Label('pmos', (93.87,71.66), layer=51, texttype=0))
dffc.add(gdstk.Label('pmos', (94.4,71.66), layer=51, texttype=0))
dffc.add(gdstk.Label('pmos', (81.84,72.421), layer=51, texttype=0))
dffc.add(gdstk.Label('pmos', (85.888,71.662), layer=51, texttype=0))
dffc.add(gdstk.Label('pmos', (86.418,71.662), layer=51, texttype=0))
dffc.add(gdstk.Label('nmos', (85.89,68.887), layer=51, texttype=0))
dffc.add(gdstk.Label('nmos', (86.42,68.887), layer=51, texttype=0))
dffc.add(gdstk.Label('nmos', (71.875,70.55), layer=51, texttype=0))
dffc.add(gdstk.Label('nmos', (69.709,70.551), layer=51, texttype=0))
dffc.add(gdstk.Label('nmos', (75.502,70.551), layer=51, texttype=0))
dffc.add(gdstk.Label('nmos', (78.027,70.546), layer=51, texttype=0))
dffc.add(gdstk.Label('nmos', (65.52,70.08), layer=51, texttype=0))
dffc.add(gdstk.Label('nmos', (94.4,68.735), layer=51, texttype=0))
dffc.add(gdstk.Label('nmos', (93.87,68.735), layer=51, texttype=0))
dffc.add(gdstk.Label('nmos', (81.84,70.626), layer=51, texttype=0))
dffc.add(gdstk.Label('pmos', (65.519,72.426), layer=51, texttype=0))
dffc.add(gdstk.Label('pmos', (75.502,72.421), layer=51, texttype=0))
dffc.add(gdstk.Label('pmos', (78.027,72.421), layer=51, texttype=0))
dffc.add(gdstk.Label('pmos', (69.71,72.427), layer=51, texttype=0))
dffc.add(gdstk.Label('pmos', (71.872,72.425), layer=51, texttype=0))
dffc.add(gdstk.Label('Q', (86.172,69.83), layer=8, texttype=2))
dffc.add(gdstk.Label('QN', (90.802,69.729), layer=8, texttype=2))
dffc.add(gdstk.Label('VDD', (67.465,74.735), layer=8, texttype=2))
dffc.add(gdstk.Label('VSS', (81,63.635), layer=8, texttype=2))
dffc.add(gdstk.Label('D', (68.91,70.78), layer=8, texttype=2))
dffc.add(gdstk.Label('vin', (77.752,71.086), layer=8, texttype=2))
dffc.add(gdstk.Label('vout', (78.282,71.101), layer=8, texttype=2))
dffc.add(gdstk.Label('vout', (82.068,71.052), layer=8, texttype=2))
dffc.add(gdstk.Label('vout', (65.754,71.046), layer=8, texttype=2))
dffc.add(gdstk.Label('clr', (64.731,68.907), layer=5, texttype=2))
dffc.add(gdstk.Label('clk', (65.419,71.061), layer=5, texttype=2))
dffc.add(gdstk.Label('vin', (81.761,71.212), layer=5, texttype=2))
dffc.add(gdstk.Label('D', (85.413,69.777), layer=5, texttype=2))
dffc.add(gdstk.Label('Entrada_N', (71.898,71.024), layer=5, texttype=2))
dffc.add(gdstk.Label('Entrada_N', (69.732,71.025), layer=5, texttype=2))
dffc.add(gdstk.Label('Entrada_N', (75.527,71.031), layer=5, texttype=2))
dffc.add(gdstk.Label('Entrada_N', (78.052,71.026), layer=5, texttype=2))
dffc.add(gdstk.Label('Entrada_P', (75.492,71.586), layer=5, texttype=2))
dffc.add(gdstk.Label('Entrada_P', (78.017,71.586), layer=5, texttype=2))
dffc.add(gdstk.Label('Entrada_P', (69.7,71.592), layer=5, texttype=2))
dffc.add(gdstk.Label('Entrada_P', (71.862,71.59), layer=5, texttype=2))

lib.write_gds('DFFC.gds')
